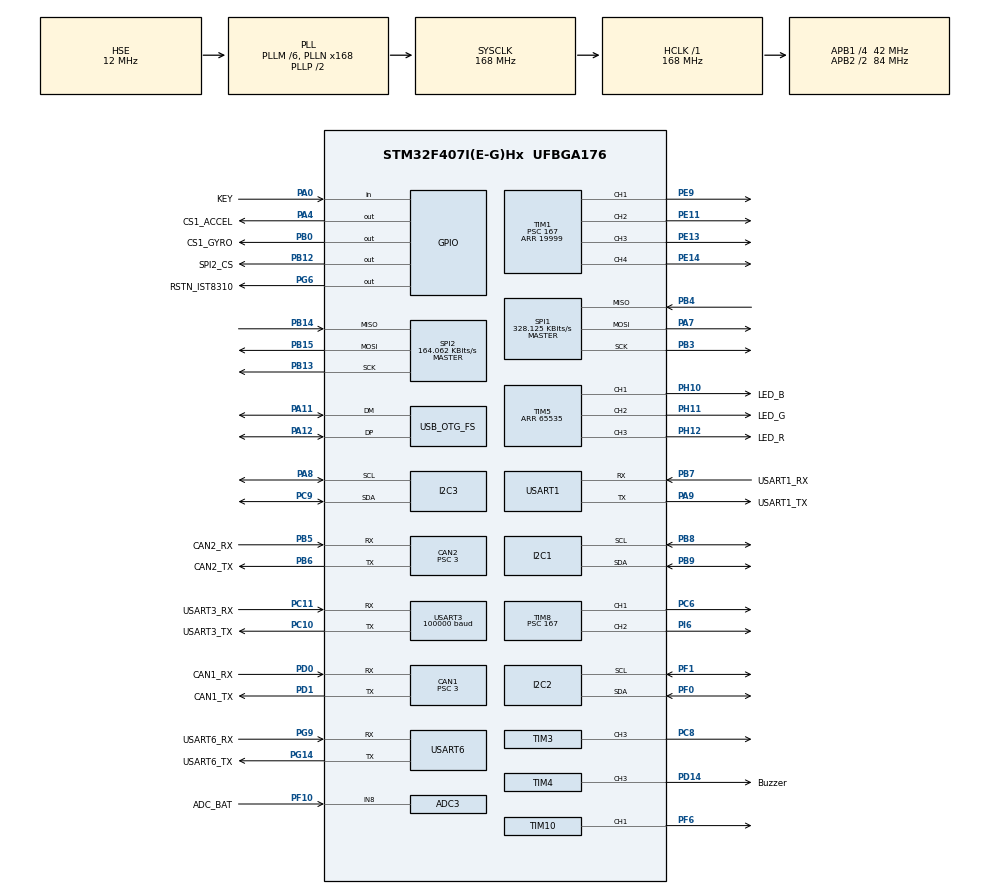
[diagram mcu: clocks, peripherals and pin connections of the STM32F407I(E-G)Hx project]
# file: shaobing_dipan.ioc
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ADC1.Channel-0\#ChannelRegularConversion=ADC_CHANNEL_TEMPSENSOR
ADC1.ClockPrescaler=ADC_CLOCK_SYNC_PCLK_DIV6
ADC1.NbrOfConversionFlag=1
ADC1.Rank-0\#ChannelRegularConversion=1
ADC1.SamplingTime-0\#ChannelRegularConversion=ADC_SAMPLETIME_3CYCLES
ADC1.master=1
ADC3.Channel-0\#ChannelRegularConversion=ADC_CHANNEL_8
ADC3.ClockPrescaler=ADC_CLOCK_SYNC_PCLK_DIV6
ADC3.NbrOfConversionFlag=1
ADC3.Rank-0\#ChannelRegularConversion=1
ADC3.SamplingTime-0\#ChannelRegularConversion=ADC_SAMPLETIME_3CYCLES
CAN1.ABOM=DISABLE
CAN1.BS1=CAN_BS1_10TQ
CAN1.BS2=CAN_BS2_3TQ
CAN1.CalculateBaudRate=1000000
CAN1.CalculateTimeBit=1000
CAN1.CalculateTimeQuantum=71.42857142857143
CAN1.NART=DISABLE
CAN1.Prescaler=3
CAN2.BS1=CAN_BS1_10TQ
CAN2.BS2=CAN_BS2_3TQ
CAN2.CalculateBaudRate=1000000
CAN2.CalculateTimeBit=1000
CAN2.CalculateTimeQuantum=71.42857142857143
CAN2.Prescaler=3
Dma.I2C2_TX.4.Direction=DMA_MEMORY_TO_PERIPH
Dma.I2C2_TX.4.FIFOMode=DMA_FIFOMODE_DISABLE
Dma.I2C2_TX.4.Instance=DMA1_Stream7
Dma.I2C2_TX.4.MemDataAlignment=DMA_MDATAALIGN_BYTE
Dma.I2C2_TX.4.MemInc=DMA_MINC_ENABLE
Dma.I2C2_TX.4.Mode=DMA_NORMAL
Dma.I2C2_TX.4.PeriphDataAlignment=DMA_PDATAALIGN_BYTE
Dma.I2C2_TX.4.PeriphInc=DMA_PINC_DISABLE
Dma.I2C2_TX.4.Priority=DMA_PRIORITY_HIGH
Dma.Request0=USART1_TX
Dma.Request1=USART3_RX
Dma.Request2=USART6_RX
Dma.Request3=USART6_TX
Dma.Request4=I2C2_TX
Dma.Request5=SPI1_RX
Dma.Request6=SPI1_TX
Dma.Request7=USART1_RX
Dma.SPI1_RX.5.Direction=DMA_PERIPH_TO_MEMORY
Dma.SPI1_RX.5.FIFOMode=DMA_FIFOMODE_DISABLE
Dma.SPI1_RX.5.Instance=DMA2_Stream2
Dma.SPI1_RX.5.MemDataAlignment=DMA_MDATAALIGN_BYTE
Dma.SPI1_RX.5.MemInc=DMA_MINC_ENABLE
Dma.SPI1_RX.5.Mode=DMA_NORMAL
Dma.SPI1_RX.5.PeriphDataAlignment=DMA_PDATAALIGN_BYTE
Dma.SPI1_RX.5.PeriphInc=DMA_PINC_DISABLE
Dma.SPI1_RX.5.Priority=DMA_PRIORITY_VERY_HIGH
Dma.SPI1_TX.6.Direction=DMA_MEMORY_TO_PERIPH
Dma.SPI1_TX.6.FIFOMode=DMA_FIFOMODE_DISABLE
Dma.SPI1_TX.6.Instance=DMA2_Stream3
Dma.SPI1_TX.6.MemDataAlignment=DMA_MDATAALIGN_BYTE
Dma.SPI1_TX.6.MemInc=DMA_MINC_ENABLE
Dma.SPI1_TX.6.Mode=DMA_NORMAL
Dma.SPI1_TX.6.PeriphDataAlignment=DMA_PDATAALIGN_BYTE
Dma.SPI1_TX.6.PeriphInc=DMA_PINC_DISABLE
Dma.SPI1_TX.6.Priority=DMA_PRIORITY_HIGH
Dma.USART1_RX.7.Direction=DMA_PERIPH_TO_MEMORY
Dma.USART1_RX.7.FIFOMode=DMA_FIFOMODE_DISABLE
Dma.USART1_RX.7.Instance=DMA2_Stream5
Dma.USART1_RX.7.MemDataAlignment=DMA_MDATAALIGN_BYTE
Dma.USART1_RX.7.MemInc=DMA_MINC_ENABLE
Dma.USART1_RX.7.Mode=DMA_NORMAL
Dma.USART1_RX.7.PeriphDataAlignment=DMA_PDATAALIGN_BYTE
Dma.USART1_RX.7.PeriphInc=DMA_PINC_DISABLE
Dma.USART1_RX.7.Priority=DMA_PRIORITY_MEDIUM
Dma.USART1_TX.0.Direction=DMA_MEMORY_TO_PERIPH
Dma.USART1_TX.0.FIFOMode=DMA_FIFOMODE_DISABLE
Dma.USART1_TX.0.Instance=DMA2_Stream7
Dma.USART1_TX.0.MemDataAlignment=DMA_MDATAALIGN_BYTE
Dma.USART1_TX.0.MemInc=DMA_MINC_ENABLE
Dma.USART1_TX.0.Mode=DMA_NORMAL
Dma.USART1_TX.0.PeriphDataAlignment=DMA_PDATAALIGN_BYTE
Dma.USART1_TX.0.PeriphInc=DMA_PINC_DISABLE
Dma.USART1_TX.0.Priority=DMA_PRIORITY_MEDIUM
Dma.USART3_RX.1.Direction=DMA_PERIPH_TO_MEMORY
Dma.USART3_RX.1.FIFOMode=DMA_FIFOMODE_DISABLE
Dma.USART3_RX.1.Instance=DMA1_Stream1
Dma.USART3_RX.1.MemDataAlignment=DMA_MDATAALIGN_BYTE
Dma.USART3_RX.1.MemInc=DMA_MINC_ENABLE
Dma.USART3_RX.1.Mode=DMA_NORMAL
Dma.USART3_RX.1.PeriphDataAlignment=DMA_PDATAALIGN_BYTE
Dma.USART3_RX.1.PeriphInc=DMA_PINC_DISABLE
Dma.USART3_RX.1.Priority=DMA_PRIORITY_HIGH
Dma.USART6_RX.2.Direction=DMA_PERIPH_TO_MEMORY
Dma.USART6_RX.2.FIFOMode=DMA_FIFOMODE_DISABLE
Dma.USART6_RX.2.Instance=DMA2_Stream1
Dma.USART6_RX.2.MemDataAlignment=DMA_MDATAALIGN_BYTE
Dma.USART6_RX.2.MemInc=DMA_MINC_ENABLE
Dma.USART6_RX.2.Mode=DMA_NORMAL
Dma.USART6_RX.2.PeriphDataAlignment=DMA_PDATAALIGN_BYTE
Dma.USART6_RX.2.PeriphInc=DMA_PINC_DISABLE
Dma.USART6_RX.2.Priority=DMA_PRIORITY_HIGH
Dma.USART6_TX.3.Direction=DMA_MEMORY_TO_PERIPH
Dma.USART6_TX.3.FIFOMode=DMA_FIFOMODE_DISABLE
Dma.USART6_TX.3.Instance=DMA2_Stream6
Dma.USART6_TX.3.MemDataAlignment=DMA_MDATAALIGN_BYTE
Dma.USART6_TX.3.MemInc=DMA_MINC_ENABLE
Dma.USART6_TX.3.Mode=DMA_NORMAL
Dma.USART6_TX.3.PeriphDataAlignment=DMA_PDATAALIGN_BYTE
Dma.USART6_TX.3.PeriphInc=DMA_PINC_DISABLE
Dma.USART6_TX.3.Priority=DMA_PRIORITY_MEDIUM
I2C1.I2C_Mode=I2C_Fast
I2C2.I2C_Mode=I2C_Fast
I2C3.I2C_Mode=I2C_Fast
Mcu.Family=STM32F4
Mcu.Name=STM32F407I(E-G)Hx
Mcu.Package=UFBGA176
NVIC.CAN1_RX0_IRQn=true\:6\:0\:true\:false\:true\:true\:true\:true
NVIC.CAN2_RX0_IRQn=true\:6\:0\:true\:false\:true\:true\:true\:true
NVIC.CAN2_SCE_IRQn=true\:5\:0\:true\:false\:true\:true\:true\:true
NVIC.DMA1_Stream1_IRQn=true\:5\:0\:true\:false\:true\:false\:true\:true
NVIC.DMA1_Stream7_IRQn=true\:5\:0\:true\:false\:true\:false\:true\:true
NVIC.DMA2_Stream1_IRQn=true\:5\:0\:true\:false\:true\:false\:true\:true
NVIC.DMA2_Stream2_IRQn=true\:5\:0\:true\:false\:true\:false\:true\:true
NVIC.DMA2_Stream3_IRQn=true\:5\:0\:true\:false\:true\:false\:true\:true
NVIC.DMA2_Stream5_IRQn=true\:0\:0\:false\:false\:true\:false\:true\:true
NVIC.DMA2_Stream6_IRQn=true\:5\:0\:true\:false\:true\:false\:true\:true
NVIC.DMA2_Stream7_IRQn=true\:5\:0\:true\:false\:true\:false\:true\:true
NVIC.OTG_FS_IRQn=true\:0\:0\:false\:false\:true\:true\:true\:true
NVIC.PriorityGroup=NVIC_PRIORITYGROUP_4
NVIC.TIM8_TRG_COM_TIM14_IRQn=true\:5\:0\:true\:false\:true\:true\:true\:true
NVIC.USART1_IRQn=true\:5\:0\:true\:false\:true\:true\:true\:true
NVIC.USART3_IRQn=true\:4\:0\:true\:false\:true\:true\:true\:true
NVIC.USART6_IRQn=true\:5\:0\:true\:false\:true\:true\:true\:true
PA0-WKUP.GPIO_Label=KEY
PA0-WKUP.GPIO_PuPd=GPIO_PULLUP
PA0-WKUP.Signal=GPIO_Input
PA11.Mode=Device_Only
PA11.Signal=USB_OTG_FS_DM
PA12.Mode=Device_Only
PA12.Signal=USB_OTG_FS_DP
PA13.Mode=Serial_Wire
PA13.Signal=SYS_JTMS-SWDIO
PA14.Mode=Serial_Wire
PA14.Signal=SYS_JTCK-SWCLK
PA4.GPIO_Label=CS1_ACCEL
PA4.GPIO_PuPd=GPIO_PULLUP
PA4.GPIO_Speed=GPIO_SPEED_FREQ_HIGH
PA4.PinState=GPIO_PIN_SET
PA4.Signal=GPIO_Output
PA7.GPIO_PuPd=GPIO_PULLUP
PA7.Mode=Full_Duplex_Master
PA7.Signal=SPI1_MOSI
PA8.GPIO_Pu=GPIO_PULLUP
PA8.Mode=I2C
PA8.Signal=I2C3_SCL
PA9.GPIO_Label=USART1_TX
PA9.Mode=Asynchronous
PA9.Signal=USART1_TX
PB0.GPIO_Label=CS1_GYRO
PB0.GPIO_PuPd=GPIO_PULLUP
PB0.GPIO_Speed=GPIO_SPEED_FREQ_HIGH
PB0.PinState=GPIO_PIN_SET
PB0.Signal=GPIO_Output
PB12.GPIO_Label=SPI2_CS
PB12.GPIO_ModeDefaultOutputPP=GPIO_MODE_OUTPUT_PP
PB12.GPIO_PuPd=GPIO_PULLUP
PB12.GPIO_Speed=GPIO_SPEED_FREQ_MEDIUM
PB12.PinState=GPIO_PIN_SET
PB12.Signal=GPIO_Output
PB13.GPIO_PuPd=GPIO_PULLUP
PB13.Mode=Full_Duplex_Master
PB13.Signal=SPI2_SCK
PB14.GPIO_PuPd=GPIO_PULLUP
PB14.Mode=Full_Duplex_Master
PB14.Signal=SPI2_MISO
PB15.GPIO_PuPd=GPIO_PULLUP
PB15.Mode=Full_Duplex_Master
PB15.Signal=SPI2_MOSI
PB3.GPIO_PuPd=GPIO_PULLUP
PB3.Mode=Full_Duplex_Master
PB3.Signal=SPI1_SCK
PB4.GPIO_PuPd=GPIO_PULLUP
PB4.Mode=Full_Duplex_Master
PB4.Signal=SPI1_MISO
PB5.GPIO_Label=CAN2_RX
PB5.Mode=CAN_Activate
PB5.Signal=CAN2_RX
PB6.GPIO_Label=CAN2_TX
PB6.Mode=CAN_Activate
PB6.Signal=CAN2_TX
PB7.GPIO_Label=USART1_RX
PB7.Mode=Asynchronous
PB7.Signal=USART1_RX
PB8.GPIO_Pu=GPIO_PULLUP
PB8.Mode=I2C
PB8.Signal=I2C1_SCL
PB9.GPIO_Pu=GPIO_PULLUP
PB9.Mode=I2C
PB9.Signal=I2C1_SDA
PC10.GPIO_Label=USART3_TX
PC10.Mode=Asynchronous
PC10.Signal=USART3_TX
PC11.GPIO_Label=USART3_RX
PC11.Mode=Asynchronous
PC11.Signal=USART3_RX
PC6.GPIO_PuPd=GPIO_PULLUP
PC6.GPIO_Speed=GPIO_SPEED_FREQ_HIGH
PC6.Signal=S_TIM8_CH1
PC8.GPIO_PuPd=GPIO_PULLUP
PC8.GPIO_Speed=GPIO_SPEED_FREQ_HIGH
PC8.Signal=S_TIM3_CH3
PC9.GPIO_Pu=GPIO_PULLUP
PC9.Mode=I2C
PC9.Signal=I2C3_SDA
PD0.GPIO_Label=CAN1_RX
PD0.Mode=CAN_Activate
PD0.Signal=CAN1_RX
PD1.GPIO_Label=CAN1_TX
PD1.Mode=CAN_Activate
PD1.Signal=CAN1_TX
PD14.GPIO_Label=Buzzer
PD14.GPIO_PuPd=GPIO_PULLUP
PD14.GPIO_Speed=GPIO_SPEED_FREQ_VERY_HIGH
PD14.Signal=S_TIM4_CH3
PE11.GPIO_PuPd=GPIO_PULLUP
PE11.GPIO_Speed=GPIO_SPEED_FREQ_HIGH
PE11.Signal=S_TIM1_CH2
PE13.GPIO_PuPd=GPIO_PULLUP
PE13.GPIO_Speed=GPIO_SPEED_FREQ_HIGH
PE13.Signal=S_TIM1_CH3
PE14.GPIO_PuPd=GPIO_PULLUP
PE14.GPIO_Speed=GPIO_SPEED_FREQ_HIGH
PE14.Signal=S_TIM1_CH4
PE9.GPIO_PuPd=GPIO_PULLUP
PE9.GPIO_Speed=GPIO_SPEED_FREQ_HIGH
PE9.Signal=S_TIM1_CH1
PF0.GPIO_Pu=GPIO_PULLUP
PF0.Mode=I2C
PF0.Signal=I2C2_SDA
PF1.GPIO_Pu=GPIO_PULLUP
PF1.Mode=I2C
PF1.Signal=I2C2_SCL
PF10.GPIO_Label=ADC_BAT
PF10.Mode=IN8
PF10.Signal=ADC3_IN8
PF6.GPIO_PuPd=GPIO_PULLUP
PF6.GPIO_Speed=GPIO_SPEED_FREQ_HIGH
PF6.Signal=S_TIM10_CH1
PG14.GPIO_Label=USART6_TX
PG14.Mode=Asynchronous
PG14.Signal=USART6_TX
PG6.GPIO_Label=RSTN_IST8310
PG6.GPIO_PuPd=GPIO_PULLUP
PG6.GPIO_Speed=GPIO_SPEED_FREQ_MEDIUM
PG6.PinState=GPIO_PIN_SET
PG6.Signal=GPIO_Output
PG9.GPIO_Label=USART6_RX
PG9.Mode=Asynchronous
PG9.Signal=USART6_RX
PH0-OSC_IN.Mode=HSE-External-Oscillator
PH0-OSC_IN.Signal=RCC_OSC_IN
PH1-OSC_OUT.Mode=HSE-External-Oscillator
PH1-OSC_OUT.Signal=RCC_OSC_OUT
PH10.GPIO_Label=LED_B
PH10.GPIO_PuPd=GPIO_PULLUP
PH10.GPIO_Speed=GPIO_SPEED_FREQ_HIGH
PH10.Signal=S_TIM5_CH1
PH11.GPIO_Label=LED_G
PH11.GPIO_PuPd=GPIO_PULLUP
PH11.GPIO_Speed=GPIO_SPEED_FREQ_HIGH
PH11.Signal=S_TIM5_CH2
PH12.GPIO_Label=LED_R
PH12.GPIO_PuPd=GPIO_PULLUP
PH12.GPIO_Speed=GPIO_SPEED_FREQ_HIGH
PH12.Signal=S_TIM5_CH3
PI6.GPIO_PuPd=GPIO_PULLUP
PI6.GPIO_Speed=GPIO_SPEED_FREQ_HIGH
PI6.Signal=S_TIM8_CH2
ProjectManager.HeapSize=0x200
ProjectManager.StackSize=0x400
ProjectManager.TargetToolchain=CMake
RCC.48MHZClocksFreq_Value=48000000
RCC.AHBFreq_Value=168000000
RCC.APB1CLKDivider=RCC_HCLK_DIV4
RCC.APB1Freq_Value=42000000
RCC.APB1TimFreq_Value=84000000
RCC.APB2CLKDivider=RCC_HCLK_DIV2
RCC.APB2Freq_Value=84000000
RCC.APB2TimFreq_Value=168000000
RCC.CortexFreq_Value=168000000
RCC.HCLKFreq_Value=168000000
RCC.HSE_VALUE=12000000
RCC.HSI_VALUE=16000000
RCC.LSE_VALUE=32768
RCC.PLLM=6
RCC.PLLN=168
RCC.PLLQ=7
RCC.RCC_RTC_Clock_SourceVirtual=RCC_RTCCLKSOURCE_HSE_DIV30
RCC.RCC_RTC_Clock_Source_FROM_HSE=RCC_RTCCLKSOURCE_HSE_DIV30
RCC.SYSCLKFreq_VALUE=168000000
RCC.SYSCLKSource=RCC_SYSCLKSOURCE_PLLCLK
RCC.VCOOutputFreq_Value=336000000
RTC.AsynchPrediv=124
RTC.SynchPrediv=3199
SH.S_TIM10_CH1.0=TIM10_CH1,PWM Generation1 CH1
SH.S_TIM1_CH1.0=TIM1_CH1,PWM Generation1 CH1
SH.S_TIM1_CH2.0=TIM1_CH2,PWM Generation2 CH2
SH.S_TIM1_CH3.0=TIM1_CH3,PWM Generation3 CH3
SH.S_TIM1_CH4.0=TIM1_CH4,PWM Generation4 CH4
SH.S_TIM3_CH3.0=TIM3_CH3,PWM Generation3 CH3
SH.S_TIM4_CH3.0=TIM4_CH3,PWM Generation3 CH3
SH.S_TIM5_CH1.0=TIM5_CH1,PWM Generation1 CH1
SH.S_TIM5_CH2.0=TIM5_CH2,PWM Generation2 CH2
SH.S_TIM5_CH3.0=TIM5_CH3,PWM Generation3 CH3
SH.S_TIM8_CH1.0=TIM8_CH1,PWM Generation1 CH1
SH.S_TIM8_CH2.0=TIM8_CH2,PWM Generation2 CH2
SPI1.BaudRatePrescaler=SPI_BAUDRATEPRESCALER_256
SPI1.CLKPhase=SPI_PHASE_2EDGE
SPI1.CLKPolarity=SPI_POLARITY_HIGH
SPI1.CalculateBaudRate=328.125 KBits/s
SPI1.Direction=SPI_DIRECTION_2LINES
SPI1.Mode=SPI_MODE_MASTER
SPI1.VirtualType=VM_MASTER
SPI2.BaudRatePrescaler=SPI_BAUDRATEPRESCALER_256
SPI2.CLKPhase=SPI_PHASE_2EDGE
SPI2.CLKPolarity=SPI_POLARITY_HIGH
SPI2.CalculateBaudRate=164.062 KBits/s
SPI2.Direction=SPI_DIRECTION_2LINES
SPI2.Mode=SPI_MODE_MASTER
SPI2.VirtualType=VM_MASTER
STMicroelectronics.X-CUBE-ALGOBUILD.1.4.0.LibraryCcDSPOoLibraryJjDSPOoLibrary=true
TIM1.Channel-PWM\ Generation1\ CH1=TIM_CHANNEL_1
TIM1.Channel-PWM\ Generation2\ CH2=TIM_CHANNEL_2
TIM1.Channel-PWM\ Generation3\ CH3=TIM_CHANNEL_3
TIM1.Channel-PWM\ Generation4\ CH4=TIM_CHANNEL_4
TIM1.Period=19999
TIM1.Prescaler=167
TIM1.Pulse-PWM\ Generation1\ CH1=1000
TIM1.Pulse-PWM\ Generation2\ CH2=1000
TIM1.Pulse-PWM\ Generation3\ CH3=1000
TIM1.Pulse-PWM\ Generation4\ CH4=1000
TIM10.Channel=TIM_CHANNEL_1
TIM10.Period=4999
TIM14.Channel=TIM_CHANNEL_1
TIM14.Period=9999
TIM14.Prescaler=83
TIM3.Channel-PWM\ Generation3\ CH3=TIM_CHANNEL_3
TIM4.Channel-PWM\ Generation3\ CH3=TIM_CHANNEL_3
TIM4.Prescaler=0
TIM5.Channel-PWM\ Generation1\ CH1=TIM_CHANNEL_1
TIM5.Channel-PWM\ Generation2\ CH2=TIM_CHANNEL_2
TIM5.Channel-PWM\ Generation3\ CH3=TIM_CHANNEL_3
TIM5.Period=65535
TIM8.Channel-PWM\ Generation1\ CH1=TIM_CHANNEL_1
TIM8.Channel-PWM\ Generation2\ CH2=TIM_CHANNEL_2
TIM8.Period=19999
TIM8.Prescaler=167
TIM8.Pulse-PWM\ Generation1\ CH1=1000
USART1.VirtualMode=VM_ASYNC
USART3.BaudRate=100000
USART3.Parity=PARITY_EVEN
USART3.VirtualMode=VM_ASYNC
USART6.VirtualMode=VM_ASYNC
USB_DEVICE.CLASS_NAME_FS=CDC
USB_DEVICE.VirtualMode-CDC_FS=Cdc
USB_DEVICE.VirtualModeFS=Cdc_FS
USB_OTG_FS.VirtualMode=Device_Only
VP_ADC1_TempSens_Input.Mode=IN-TempSens
VP_ADC1_Vref_Input.Mode=IN-Vrefint
VP_RTC_VS_RTC_Activate.Mode=RTC_Enabled
VP_STMicroelectronics.X-CUBE-ALGOBUILD_VS_DSPOoLibraryJjLibrary_1.4.0_1.4.0.Mode=DSPOoLibraryJjLibrary
VP_TIM10_VS_ClockSourceINT.Mode=Enable_Timer
VP_TIM14_VS_ClockSourceINT.Mode=Enable_Timer
VP_TIM14_VS_no_output1.Mode=Output Compare1 No Output
VP_TIM1_VS_ClockSourceINT.Mode=Internal
VP_TIM3_VS_ClockSourceINT.Mode=Internal
VP_TIM5_VS_ClockSourceINT.Mode=Internal
VP_TIM8_VS_ClockSourceINT.Mode=Internal
VP_USB_DEVICE_VS_USB_DEVICE_CDC_FS.Mode=CDC_FS
board=custom

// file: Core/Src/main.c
/* USER CODE BEGIN Header */
/**
  ******************************************************************************
  * @file           : main.c
  * @brief          : Main program body
  ******************************************************************************
  * @attention
  *
  * Copyright (c) 2026 STMicroelectronics.
  * All rights reserved.
  *
  * This software is licensed under terms that can be found in the LICENSE file
  * in the root directory of this software component.
  * If no LICENSE file comes with this software, it is provided AS-IS.
  *
  ******************************************************************************
  */
/* USER CODE END Header */
#include "main.h"
#include "adc.h"
#include "can.h"
#include "dma.h"
#include "i2c.h"
#include "rtc.h"
#include "spi.h"
#include "tim.h"
#include "usart.h"
#include "usb_device.h"
#include "gpio.h"
#include "imu_system.h"

/* USER CODE BEGIN Includes */
#include "bsp_can.h"
#include "dji_motor.h"
#include "remote_control.h"
#include "chassis.h"
#include "gimbal_heading_link.h"
#include "navigation.h"
#include <stdio.h>
/* USER CODE END Includes */

/* USER CODE BEGIN PD */
#define IMU_STATUS_LED_PWM 50000U
/* USER CODE END PD */

/* USER CODE BEGIN PV */
static uint32_t chassis_update_tick_ms;
/* IMU迁移：独立保存实际采样时间，正常运行约每2ms更新一次。 */
static uint32_t imu_update_tick_ms;
static uint32_t debug_uart6_tick_ms;
static uint32_t reset_flags;
static uint32_t main_loop_count;
static uint8_t watchdog_enabled;
typedef enum
{
  IMU_LED_WARMING = 0U,
  IMU_LED_STABLE,
  IMU_LED_CALIBRATING,
  IMU_LED_READY
} imu_led_state_t;
static imu_led_state_t imu_led_state;
static uint8_t imu_led_phase;
static uint32_t imu_led_tick;
/* USER CODE END PV */

void SystemClock_Config(void);

/* USER CODE BEGIN 0 */
static void Watchdog_Init(void)
{
  uint32_t start_tick;

  /* LSI 约 32 kHz，64 分频、重装值 999，对应约 2 秒超时。 */
  SET_BIT(RCC->CSR, RCC_CSR_LSION);
  start_tick = HAL_GetTick();
  while ((RCC->CSR & RCC_CSR_LSIRDY) == 0U)
  {
    if ((uint32_t)(HAL_GetTick() - start_tick) > 100U)
    {
      return;
    }
  }

  __HAL_DBGMCU_FREEZE_IWDG();
  IWDG->KR = 0x5555U;
  IWDG->PR = 4U;
  IWDG->RLR = 999U;
  start_tick = HAL_GetTick();
  while (IWDG->SR != 0U)
  {
    if ((uint32_t)(HAL_GetTick() - start_tick) > 100U)
    {
      return;
    }
  }
  IWDG->KR = 0xAAAAU;
  IWDG->KR = 0xCCCCU;
  watchdog_enabled = 1U;
}

static void Watchdog_Refresh(void)
{
  if (watchdog_enabled != 0U)
  {
    IWDG->KR = 0xAAAAU;
  }
}

static void Debug_UART6_Print(void)
{
  navigation_command_t navigation;
  const imu_system_t *imu;
  float vx;
  float vy;
  float wz;
  uint32_t now_ms;
  uint8_t received;
  uint8_t valid;
  static char message[512];
  int length;

  /* DMA 未结束时不改写发送缓冲区。 */
  if (huart6.gState != HAL_UART_STATE_READY)
  {
    return;
  }
  Navigation_Get(&navigation);
  imu = IMU_System_GetData();
  now_ms = HAL_GetTick();
  /* 只输出导航接收诊断：rx/valid 分别表示最近 300 ms 有原始数据/有效帧。 */
  received = (uint8_t)((navigation.rx_byte_count != 0U) &&
      ((uint32_t)(now_ms - navigation.last_rx_tick_ms) <= NAVIGATION_TIMEOUT_MS));
  valid = (uint8_t)((navigation.valid != 0U) &&
      ((uint32_t)(now_ms - navigation.update_tick_ms) <= NAVIGATION_TIMEOUT_MS));
  /* AA 56 只有四路轮速：以下速度由最近一帧目标反算，是否过期看 valid。 */
  Chassis_MotorRpmToVelocity(navigation.motor_rpm, &vx, &vy, &wz);

  /* 修改：IMU只输出补偿后GZ(rad/s)、Yaw/累计Yaw(度)、固定Z零偏(rad/s)。
   * active表示已切入导航模式；等待新帧或超时停车时仍为1。 */
  length = snprintf(message, sizeof(message),
                    "NAV:active=%u rx=%u valid=%u bytes=%lu frames=%lu bad=%lu "
                    "vx=%.3f vy=%.3f wz=%.3f "
                    "IMU:ready=%u temp=%.2f GZ=%.5f "
                    "YAW=%.2f YAW_TOTAL=%.2f DBZ=%.6f "
                    "FOLLOW:valid=%u angle=%.2f age=%lu vx=%.2f vy=%.2f wz=%.2f spin=%u\r\n",
                    (unsigned int)(g_chassis_debug.control_source == CHASSIS_SOURCE_NAVIGATION),
                    (unsigned int)received,
                    (unsigned int)valid,
                    (unsigned long)navigation.rx_byte_count,
                    (unsigned long)navigation.frame_count,
                    (unsigned long)navigation.checksum_error_count,
                    (double)vx, (double)vy, (double)wz,
                    (unsigned int)imu->initialized,
                    (double)imu->temperature,
                    (double)imu->yaw_rate_rad_s,
                    (double)(imu->yaw_rad * 57.29578f),
                    (double)(imu->yaw_total_rad * 57.29578f),
                    (double)imu->gyro_bias_z,
                    /* 修改：保留原导航/IMU输出，追加朝向回传和底盘运动状态。 */
                    (unsigned int)g_chassis_debug.gimbal_heading_valid,
                    (double)g_chassis_debug.gimbal_heading_deg,
                    (unsigned long)g_chassis_debug.gimbal_heading_age_ms,
                    (double)g_chassis_debug.vx_command,
                    (double)g_chassis_debug.vy_command,
                    (double)g_chassis_debug.wz_command,
                    (unsigned int)g_chassis_debug.small_gyro_active);

  if (length > 0)
  {
    if (length >= (int)sizeof(message))
    {
      length = (int)sizeof(message) - 1;
    }
    /* DMA 非阻塞发送，避免每秒打印时暂停底盘控制。 */
    (void)HAL_UART_Transmit_DMA(&huart6, (uint8_t *)message, (uint16_t)length);
  }
}

/* IMU迁移：用底盘已有 TIM5 RGB 灯显示升温、稳定、校准和就绪状态。 */
static void IMU_StatusLed_Output(uint16_t red, uint16_t green, uint16_t blue)
{
  __HAL_TIM_SET_COMPARE(&htim5, TIM_CHANNEL_1, blue);
  __HAL_TIM_SET_COMPARE(&htim5, TIM_CHANNEL_2, green);
  __HAL_TIM_SET_COMPARE(&htim5, TIM_CHANNEL_3, red);
}

static void IMU_StatusLed_Set(imu_led_state_t state)
{
  imu_led_state = state;
  imu_led_phase = 1U;
  imu_led_tick = HAL_GetTick();
  if (state == IMU_LED_WARMING)
    IMU_StatusLed_Output(IMU_STATUS_LED_PWM, 0U, 0U);
  else if (state == IMU_LED_STABLE)
    IMU_StatusLed_Output(IMU_STATUS_LED_PWM, IMU_STATUS_LED_PWM, 0U);
  else if (state == IMU_LED_CALIBRATING)
    IMU_StatusLed_Output(0U, 0U, IMU_STATUS_LED_PWM);
  else
    IMU_StatusLed_Output(0U, IMU_STATUS_LED_PWM, 0U);
}

static void IMU_StatusLed_Update(void)
{
  uint32_t now = HAL_GetTick();
  uint32_t period = (imu_led_state == IMU_LED_CALIBRATING) ? 250U : 500U;

  if (imu_led_state == IMU_LED_READY)
  {
    IMU_StatusLed_Output(0U, IMU_STATUS_LED_PWM, 0U);
    return;
  }
  if ((uint32_t)(now - imu_led_tick) >= period)
  {
    imu_led_tick = now;
    imu_led_phase ^= 1U;
    if (imu_led_phase == 0U)
      IMU_StatusLed_Output(0U, 0U, 0U);
    else if (imu_led_state == IMU_LED_WARMING)
      IMU_StatusLed_Output(IMU_STATUS_LED_PWM, 0U, 0U);
    else if (imu_led_state == IMU_LED_STABLE)
      IMU_StatusLed_Output(IMU_STATUS_LED_PWM, IMU_STATUS_LED_PWM, 0U);
    else
      IMU_StatusLed_Output(0U, 0U, IMU_STATUS_LED_PWM);
  }
}

static void IMU_Temperature_SetPWM(uint16_t pwm)
{
  __HAL_TIM_SET_COMPARE(&htim10, TIM_CHANNEL_1, pwm);
}

static uint8_t IMU_HeaterStart(void)
{
  IMU_Temperature_SetPWM(0U);
  return (uint8_t)(HAL_TIM_PWM_Start(&htim10, TIM_CHANNEL_1) == HAL_OK);
}

static void IMU_StageChanged(imu_system_stage_t stage)
{
  if (stage == IMU_SYSTEM_WARMING)
    IMU_StatusLed_Set(IMU_LED_WARMING);
  else if (stage == IMU_SYSTEM_TEMPERATURE_STABLE)
    IMU_StatusLed_Set(IMU_LED_STABLE);
  else if (stage == IMU_SYSTEM_CALIBRATING)
    IMU_StatusLed_Set(IMU_LED_CALIBRATING);
  else
    IMU_StatusLed_Set(IMU_LED_READY);
}

static void IMU_StartupProgress(void)
{
  IMU_StatusLed_Update();
}

static uint32_t IMU_GetTickMs(void)
{
  return HAL_GetTick();
}

/* USER CODE END 0 */

int main(void)
{

  /* USER CODE BEGIN 1 */
  /* 保存上次复位原因；高 7 位分别表示 BOR、引脚、上电、软件和看门狗复位。 */
  reset_flags = RCC->CSR & 0xFE000000U;
  SET_BIT(RCC->CSR, RCC_CSR_RMVF);
  /* USER CODE END 1 */

  /* MCU Configuration--------------------------------------------------------*/

  /* Reset of all peripherals, Initializes the Flash interface and the Systick. */
  HAL_Init();

  /* Configure the system clock */
  SystemClock_Config();

  /* USER CODE BEGIN SysInit */
  /* 导航缓冲必须先于 USB 启动初始化，避免覆盖刚收到的上位机指令。 */
  Navigation_Init();
  /* USER CODE END SysInit */

  /* Initialize all configured peripherals */
  MX_GPIO_Init();
  MX_DMA_Init();
  MX_TIM5_Init();
  MX_TIM4_Init();
  MX_CAN1_Init();
  MX_CAN2_Init();
  MX_USART1_UART_Init();
  MX_USART3_UART_Init();
  MX_USART6_UART_Init();
  MX_ADC1_Init();
  MX_ADC3_Init();
  MX_RTC_Init();
  MX_TIM1_Init();
  MX_TIM3_Init();
  MX_TIM8_Init();
  MX_TIM10_Init();
  MX_I2C1_Init();
  MX_I2C2_Init();
  MX_I2C3_Init();
  MX_SPI1_Init();
  MX_SPI2_Init();
  {
    imu_system_config_t imu_config = {
        .get_tick_ms = IMU_GetTickMs,
        .heater_start = IMU_HeaterStart,
        .heater_set_pwm = IMU_Temperature_SetPWM,
        .stage_changed = IMU_StageChanged,
        .progress = IMU_StartupProgress};
    /* 修改：BMI088自检、恒温和Z轴静态校准完成后，再启动底盘控制。 */
    if (!IMU_System_Init(&imu_config))
    {
      IMU_Temperature_SetPWM(0U);
      Error_Handler();
    }
  }
  imu_update_tick_ms = HAL_GetTick();
  MX_TIM14_Init();
  MX_USB_DEVICE_Init();
  /* USER CODE BEGIN 2 */
  /* USER CODE: start only the drivers needed by the first chassis test. */
  if (BSP_CAN_Init(&hcan1) != HAL_OK)
  {
    Error_Handler();
  }
  Remote_Control_Init();
  /* 修改：接收云台USART1回传朝向，原A6/A5发送继续保留。 */
  Gimbal_Heading_Init();
  Chassis_Init();
  chassis_update_tick_ms = HAL_GetTick();
  debug_uart6_tick_ms = HAL_GetTick();
  Watchdog_Init();
  /* USER CODE END 2 */

  /* Infinite loop */
  /* USER CODE BEGIN WHILE */
  while (1)
  {
    main_loop_count++;
    Watchdog_Refresh();
    /* 底盘接收DBUS后，通过USART1 DMA转发给云台板。 */
    Remote_Control_Forward_Update();
    /* USER CODE END WHILE */

    /* USER CODE BEGIN 3 */
    /* USER CODE: simple 2 ms scheduler; FreeRTOS is intentionally not used yet. */
    if ((uint32_t)(HAL_GetTick() - chassis_update_tick_ms) >= CHASSIS_CONTROL_PERIOD_MS)
    {
      uint32_t now_ms = HAL_GetTick();
      uint32_t imu_elapsed_ms = now_ms - imu_update_tick_ms;
      /* 超时后从当前时刻重新计时，不连续追帧挤满 CAN 邮箱。 */
      chassis_update_tick_ms = now_ms;
      imu_update_tick_ms = now_ms;
      IMU_System_Update((float)imu_elapsed_ms * 0.001f);
      Chassis_Update();
    }

    /* USART6 每秒只发送一行导航接收诊断。 */
    if ((uint32_t)(HAL_GetTick() - debug_uart6_tick_ms) >= 1000U)
    {
      debug_uart6_tick_ms += 1000U;
      Debug_UART6_Print();
    }

    /* IMU状态灯由温控/校准阶段控制；就绪后保持绿灯。 */
    IMU_StatusLed_Update();

  }
  /* USER CODE END 3 */
}

void SystemClock_Config(void)
{
  RCC_OscInitTypeDef RCC_OscInitStruct = {0};
  RCC_ClkInitTypeDef RCC_ClkInitStruct = {0};

  /** Configure the main internal regulator output voltage
  */
  __HAL_RCC_PWR_CLK_ENABLE();
  __HAL_PWR_VOLTAGESCALING_CONFIG(PWR_REGULATOR_VOLTAGE_SCALE1);

  /** Initializes the RCC Oscillators according to the specified parameters
  * in the RCC_OscInitTypeDef structure.
  */
  RCC_OscInitStruct.OscillatorType = RCC_OSCILLATORTYPE_HSE;
  RCC_OscInitStruct.HSEState = RCC_HSE_ON;
  RCC_OscInitStruct.PLL.PLLState = RCC_PLL_ON;
  RCC_OscInitStruct.PLL.PLLSource = RCC_PLLSOURCE_HSE;
  RCC_OscInitStruct.PLL.PLLM = 6;
  RCC_OscInitStruct.PLL.PLLN = 168;
  RCC_OscInitStruct.PLL.PLLP = RCC_PLLP_DIV2;
  RCC_OscInitStruct.PLL.PLLQ = 7;
  if (HAL_RCC_OscConfig(&RCC_OscInitStruct) != HAL_OK)
  {
    Error_Handler();
  }

  /** Initializes the CPU, AHB and APB buses clocks
  */
  RCC_ClkInitStruct.ClockType = RCC_CLOCKTYPE_HCLK|RCC_CLOCKTYPE_SYSCLK
                              |RCC_CLOCKTYPE_PCLK1|RCC_CLOCKTYPE_PCLK2;
  RCC_ClkInitStruct.SYSCLKSource = RCC_SYSCLKSOURCE_PLLCLK;
  RCC_ClkInitStruct.AHBCLKDivider = RCC_SYSCLK_DIV1;
  RCC_ClkInitStruct.APB1CLKDivider = RCC_HCLK_DIV4;
  RCC_ClkInitStruct.APB2CLKDivider = RCC_HCLK_DIV2;

  if (HAL_RCC_ClockConfig(&RCC_ClkInitStruct, FLASH_LATENCY_5) != HAL_OK)
  {
    Error_Handler();
  }
}

void Error_Handler(void)
{
  __disable_irq();
  while (1)
  {
  }
}
